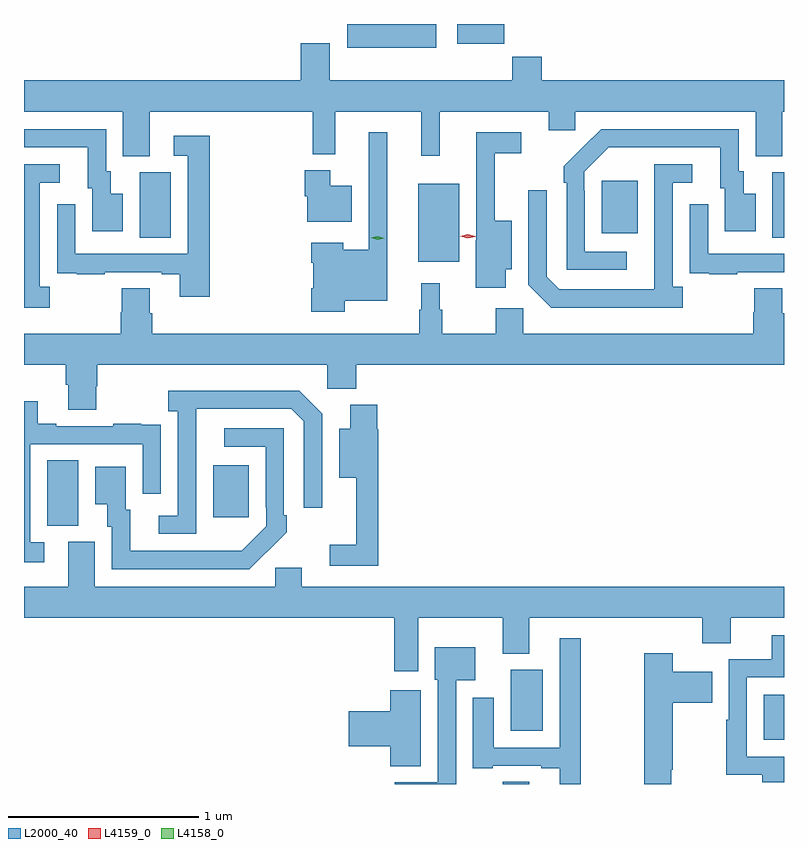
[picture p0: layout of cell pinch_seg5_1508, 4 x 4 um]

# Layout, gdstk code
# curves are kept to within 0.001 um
import gdstk
lib = gdstk.Library(unit=1e-6, precision=1e-09)
def R(c, l, rs):  # rectangles x0, y0, x1, y1
    for r in rs: c.add(gdstk.rectangle(r[:2], r[2:], *l))
def P(c, l, *ps):  # polygons
    for p in ps: c.add(gdstk.Polygon(p, *l))
L2000_40 = (2000, 40)
L4158_0 = (4158, 0)
L4159_0 = (4159, 0)

pinch_seg5_1508 = lib.new_cell('pinch_seg5_1508')
R(pinch_seg5_1508, L2000_40, [(318.677,847.893,318.817,847.904), (320.051,848.126,320.158,848.362), (318.719,848.174,318.889,848.494), (316.28,849.253,316.444,849.596), (317.153,849.297,317.341,849.571), (318.233,850.643,318.448,851.053), (316.766,850.768,316.93,851.112), (320.096,850.768,320.158,851.112), (319.199,850.793,319.387,851.068), (317.858,851.768,318.328,851.893), (318.437,851.79,318.686,851.893)])
P(pinch_seg5_1508, L2000_40, [(318.884,851.72),(318.727,851.72),(318.727,851.596),(317.767,851.596),(317.767,851.791),(317.615,851.791),(317.615,851.596),(316.158,851.596),(316.158,851.432),(316.679,851.432),(316.679,851.197),(316.819,851.197),(316.819,851.432),(317.677,851.432),(317.677,851.207),(317.795,851.207),(317.795,851.432),(318.248,851.432),(318.248,851.199),(318.347,851.199),(318.347,851.432),(318.92,851.432),(318.92,851.334),(319.059,851.334),(319.059,851.432),(320.009,851.432),(320.009,851.197),(320.149,851.197),(320.149,851.432),(320.158,851.432),(320.158,851.596),(318.884,851.596)],
  [(316.678,850.999),(316.615,850.999),(316.615,851.118),(316.59,851.118),(316.59,851.34),(316.158,851.34),(316.158,851.244),(316.493,851.244),(316.493,851.028),(316.517,851.028),(316.517,850.803),(316.678,850.803)],
  [(319.33,850.695),(319.11,850.695),(319.11,851.015),(319.107,851.015),(319.107,851.115),(319.236,851.244),(319.823,851.244),(319.823,851.028),(319.847,851.028),(319.847,850.803),(320.008,850.803),(320.008,850.999),(319.945,850.999),(319.945,851.118),(319.92,851.118),(319.92,851.34),(319.196,851.34),(318.999,851.145),(318.999,851.057),(319.014,851.057),(319.014,850.599),(319.33,850.599)],
  [(317.847,850.436),(318.07,850.436),(318.07,851.323),(317.973,851.323),(317.973,850.705),(317.839,850.705),(317.839,850.741),(317.669,850.741),(317.669,850.637),(317.681,850.637),(317.681,850.501),(317.669,850.501),(317.669,850.379),(317.847,850.379)],
  [(318.694,850.601),(318.724,850.601),(318.724,850.858),(318.635,850.858),(318.635,851.214),(318.775,851.214),(318.775,851.322),(318.537,851.322),(318.537,850.754),(318.536,850.754),(318.536,850.506),(318.694,850.506)],
  [(317.135,851.305),(316.947,851.305),(316.947,851.199),(317.019,851.199),(317.019,850.683),(316.428,850.683),(316.428,850.945),(316.332,850.945),(316.332,850.69),(316.333,850.69),(316.333,850.581),(316.435,850.581),(316.435,850.575),(316.583,850.575),(316.583,850.587),(316.883,850.587),(316.883,850.575),(316.979,850.575),(316.979,850.458),(317.135,850.458)],
  [(316.294,850.51),(316.242,850.51),(316.242,851.058),(316.345,851.058),(316.345,851.154),(316.158,851.154),(316.158,850.4),(316.294,850.4)],
  [(319.624,850.51),(319.572,850.51),(319.572,851.058),(319.675,851.058),(319.675,851.154),(319.476,851.154),(319.475,850.497),(318.975,850.497),(318.909,850.563),(318.909,851.017),(318.813,851.017),(318.813,850.521),(318.934,850.4),(319.624,850.4)],
  [(317.884,851.041),(317.77,851.041),(317.77,851.122),(317.636,851.122),(317.636,850.986),(317.648,850.986),(317.648,850.853),(317.884,850.853)],
  [(319.913,850.587),(320.158,850.587),(320.158,850.683),(319.758,850.683),(319.758,850.945),(319.662,850.945),(319.662,850.69),(319.663,850.69),(319.663,850.581),(319.765,850.581),(319.765,850.575),(319.913,850.575)],
  [(316.539,849.987),(316.544,849.987),(316.544,850.1),(317.754,850.1),(317.754,849.974),(317.906,849.974),(317.906,850.1),(320.158,850.1),(320.158,850.37),(320.149,850.37),(320.149,850.502),(320.002,850.502),(320.002,850.377),(319.997,850.377),(319.997,850.264),(318.786,850.264),(318.786,850.396),(318.64,850.396),(318.64,850.264),(318.358,850.264),(318.358,850.388),(318.347,850.388),(318.347,850.528),(318.248,850.528),(318.248,850.388),(318.237,850.388),(318.237,850.264),(316.832,850.264),(316.832,850.37),(316.819,850.37),(316.819,850.502),(316.672,850.502),(316.672,850.377),(316.667,850.377),(316.667,850.264),(316.158,850.264),(316.158,850.1),(316.379,850.1),(316.379,849.994),(316.391,849.994),(316.391,849.862),(316.539,849.862)],
  [(317.064,849.667),(317.065,849.867),(317.565,849.867),(317.631,849.801),(317.631,849.348),(317.727,849.348),(317.727,849.843),(317.606,849.964),(316.917,849.964),(316.917,849.854),(316.968,849.854),(316.968,849.306),(316.866,849.306),(316.866,849.21),(317.064,849.21)],
  [(316.264,849.165),(316.191,849.165),(316.191,849.681),(316.782,849.681),(316.782,849.42),(316.878,849.42),(316.878,849.674),(316.877,849.674),(316.877,849.783),(316.775,849.783),(316.775,849.79),(316.627,849.79),(316.627,849.777),(316.327,849.777),(316.327,849.79),(316.231,849.79),(316.231,849.907),(316.158,849.907),(316.158,849.06),(316.264,849.06)],
  [(318.023,849.759),(318.017,849.759),(318.017,849.889),(317.876,849.889),(317.876,849.763),(317.816,849.763),(317.816,849.506),(317.906,849.506),(317.906,849.151),(317.766,849.151),(317.766,849.042),(318.023,849.042)],
  [(317.435,849.115),(317.436,849.114),(317.541,849.219),(317.541,849.307),(317.526,849.307),(317.526,849.765),(317.211,849.765),(317.211,849.669),(317.43,849.669),(317.43,849.349),(317.433,849.349),(317.433,849.249),(317.305,849.121),(316.717,849.12),(316.717,849.336),(316.693,849.336),(316.693,849.562),(316.532,849.562),(316.532,849.365),(316.595,849.365),(316.595,849.246),(316.62,849.246),(316.62,849.024),(317.344,849.024)],
  [(318.232,848.768),(318.677,848.768),(318.677,848.579),(318.817,848.579),(318.817,848.768),(319.727,848.768),(319.727,848.635),(319.879,848.635),(319.879,848.768),(320.158,848.768),(320.158,848.932),(317.62,848.932),(317.62,849.03),(317.481,849.03),(317.481,848.932),(316.531,848.932),(316.531,849.168),(316.391,849.168),(316.391,848.932),(316.158,848.932),(316.158,848.768),(318.107,848.768),(318.107,848.487),(318.232,848.487)],
  [(320.158,848.037),(319.962,848.037),(319.962,848.454),(320.158,848.454),(320.158,848.676),(320.093,848.676),(320.093,848.55),(319.866,848.55),(319.866,848.231),(319.854,848.231),(319.854,847.941),(320.044,847.941),(320.044,847.901),(320.158,847.901)],
  [(319.087,848.659),(318.978,848.659),(318.978,848.085),(318.631,848.085),(318.631,848.347),(318.521,848.347),(318.521,847.977),(318.625,847.977),(318.625,847.989),(318.881,847.989),(318.881,847.977),(318.977,847.977),(318.977,847.893),(319.087,847.893)],
  [(318.432,848.438),(318.532,848.438),(318.532,848.614),(318.32,848.614),(318.32,848.442),(318.336,848.442),(318.336,847.902),(318.108,847.902),(318.108,847.893),(318.432,847.893)],
  [(319.564,847.967),(319.572,847.967),(319.572,848.32),(319.781,848.32),(319.781,848.485),(319.572,848.485),(319.572,848.581),(319.423,848.581),(319.423,847.893),(319.564,847.893)],
  [(318.247,848.386),(318.086,848.386),(318.086,848.276),(317.868,848.276),(317.868,848.093),(318.086,848.093),(318.086,847.987),(318.247,847.987)])
P(pinch_seg5_1508, L4158_0, [(318.019,850.757),(317.984,850.769),(317.983,850.769),(317.984,850.769),(318.019,850.777),(318.054,850.766),(318.055,850.766),(318.054,850.766)])
P(pinch_seg5_1508, L4159_0, [(318.493,850.766),(318.453,850.777),(318.453,850.777),(318.453,850.777),(318.493,850.786),(318.533,850.775),(318.533,850.775),(318.533,850.774)])

lib.write_gds('pinch_seg5_1508.gds')
